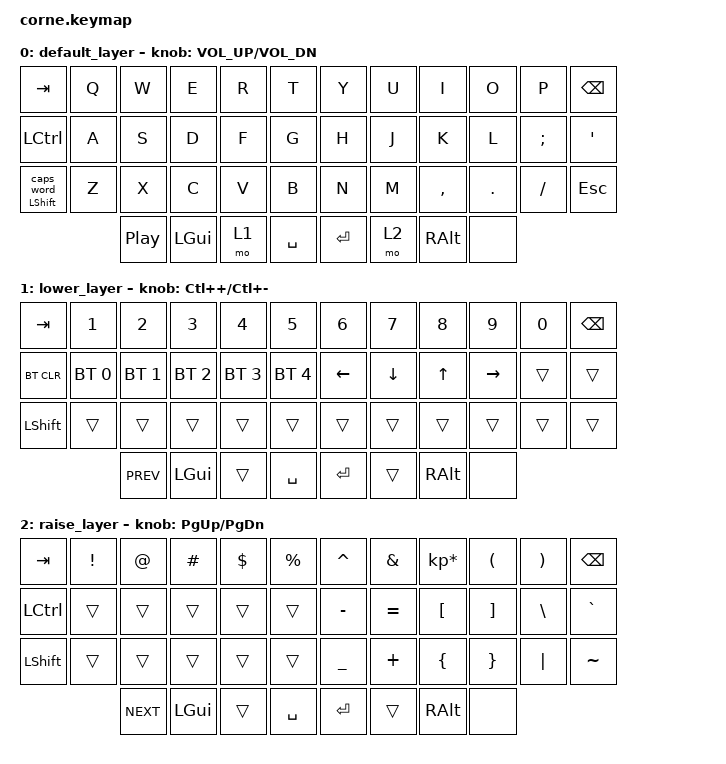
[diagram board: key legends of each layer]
/*
 * Copyright (c) 2020 The ZMK Contributors
 *
 * SPDX-License-Identifier: MIT
 */

#include <behaviors.dtsi>
#include <dt-bindings/zmk/keys.h>
#include <dt-bindings/zmk/bt.h>

/ {

        behaviors {
                ht_cw: hold_tap_caps_word {
                        compatible = "zmk,behavior-hold-tap";
                        label = "MT_CW";
                        #binding-cells = <2>;
                        tapping-term-ms = <150>;
                        flavor = "hold-preferred";
                        bindings = <&kp>, <&caps_word>;
                };
        };

        keymap {
                compatible = "zmk,keymap";

                default_layer {
// -----------------------------------------------------------------------------------------
// |  TAB |  Q  |  W  |  E  |  R  |  T  |   |  Y  |  U   |  I  |  O  |  P  | BKSP |
// | CTRL |  A  |  S  |  D  |  F  |  G  |   |  H  |  J   |  K  |  L  |  ;  |  '   |
// | SHFT |  Z  |  X  |  C  |  V  |  B  |   |  N  |  M   |  ,  |  .  |  /  | ESC  |
//                    | GUI | LWR | SPC |   | ENT | RSE  | ALT |
                        bindings = <
   &kp TAB   &kp Q &kp W &kp E &kp R &kp T   &kp Y &kp U  &kp I     &kp O   &kp P    &kp BSPC
   &kp LCTRL &kp A &kp S &kp D &kp F &kp G   &kp H &kp J  &kp K     &kp L   &kp SEMI &kp SQT
   &ht_cw LSHFT 0 &kp Z &kp X &kp C &kp V &kp B   &kp N &kp M  &kp COMMA &kp DOT &kp FSLH &kp ESC
                  &kp C_PP &kp LGUI &mo 1 &kp SPACE   &kp RET &mo 2 &kp RALT  &none
                        >;
                        sensor-bindings = <&inc_dec_kp C_VOL_UP C_VOL_DN>;
                };
                lower_layer {
// -----------------------------------------------------------------------------------------
// |  TAB |  1  |  2  |  3  |  4  |  5  |   |  6  |  7  |  8  |  9  |  0  | BKSP |
// | BTCLR| BT1 | BT2 | BT3 | BT4 | BT5 |   | LFT | DWN |  UP | RGT |     |      |
// | SHFT |     |     |     |     |     |   |     |     |     |     |     |      |
//                    | GUI |     | SPC |   | ENT |     | ALT |
                        bindings = <
   &kp TAB    &kp N1       &kp N2       &kp N3       &kp N4       &kp N5         &kp N6   &kp N7   &kp N8 &kp N9    &kp N0 &kp BSPC
   &bt BT_CLR &bt BT_SEL 0 &bt BT_SEL 1 &bt BT_SEL 2 &bt BT_SEL 3 &bt BT_SEL 4   &kp LEFT &kp DOWN &kp UP &kp RIGHT &trans &trans
   &kp LSHFT  &trans       &trans       &trans       &trans       &trans         &trans   &trans   &trans &trans    &trans &trans
                          	&kp C_PREV &kp LGUI     &trans       &kp SPACE      &kp RET  &trans   &kp RALT  &none
                        >;
                        sensor-bindings = <&inc_dec_cp LC(PLUS) LC(MINUS)>;
                };

                raise_layer {
// -----------------------------------------------------------------------------------------
// |  TAB |  !  |  @  |  #  |  $  |  %  |   |  ^  |  &  |  *  |  (  |  )  | BKSP |
// | CTRL |     |     |     |     |     |   |  -  |  =  |  [  |  ]  |  \  |  `   |
// | SHFT |     |     |     |     |     |   |  _  |  +  |  {  |  }  | "|" |  ~   |
//                    | GUI |     | SPC |   | ENT |     | ALT |
                        bindings = <
   &kp  TAB  &kp EXCL &kp AT &kp HASH &kp DLLR &kp PRCNT   &kp CARET &kp AMPS  &kp KP_MULTIPLY &kp LPAR &kp RPAR &kp BSPC
   &kp LCTRL &trans   &trans &trans   &trans   &trans      &kp MINUS &kp EQUAL &kp LBKT        &kp RBKT &kp BSLH &kp GRAVE
   &kp LSHFT &trans   &trans &trans   &trans   &trans      &kp UNDER &kp PLUS  &kp LBRC        &kp RBRC &kp PIPE &kp TILDE
                    	   &kp C_NEXT  &kp LGUI &trans   &kp SPACE   &kp RET   &trans    &kp RALT  &none
                        >;
                        sensor-bindings = <&inc_dec_kp PG_UP PG_DN>;
                };
        };
};
